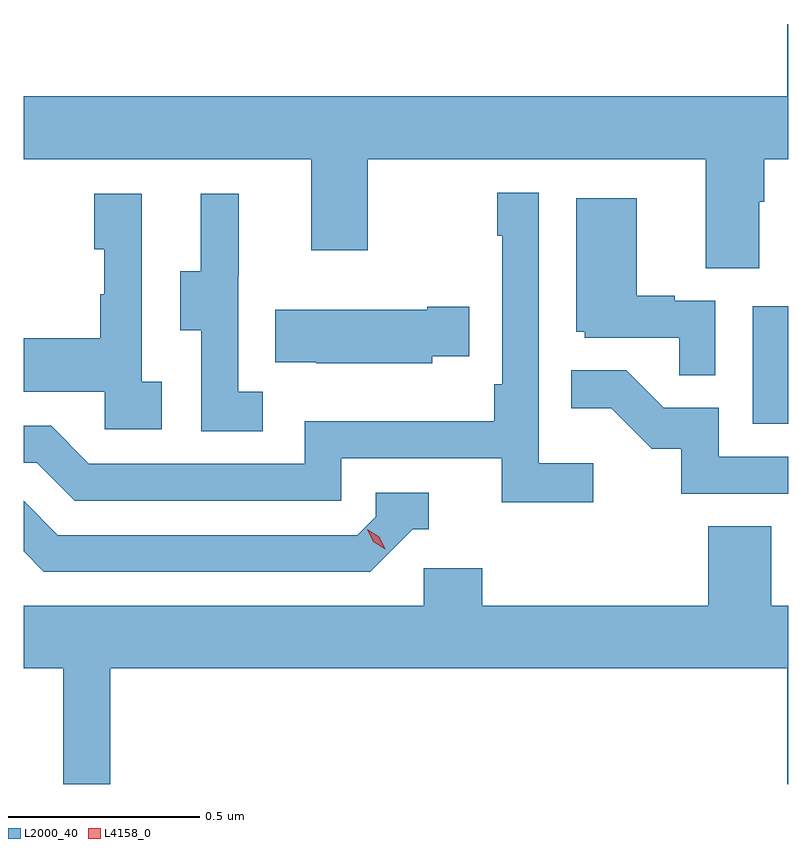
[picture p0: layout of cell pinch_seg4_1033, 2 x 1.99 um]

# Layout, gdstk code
import gdstk
lib = gdstk.Library(unit=1e-6, precision=1e-09)
def R(c, l, rs):  # rectangles x0, y0, x1, y1
    for r in rs: c.add(gdstk.rectangle(r[:2], r[2:], *l))
def P(c, l, *ps):  # polygons
    for p in ps: c.add(gdstk.Polygon(p, *l))
L2000_40 = (2000, 40)
L4158_0 = (4158, 0)

pinch_seg4_1033 = lib.new_cell('pinch_seg4_1033')
R(pinch_seg4_1033, L2000_40, [(824.258,770.82,824.351,771.127)])
P(pinch_seg4_1033, L2000_40, [(824.275,771.4),(824.288,771.4),(824.288,771.512),(824.351,771.512),(824.351,771.865),(824.348,771.865),(824.348,771.676),(822.351,771.676),(822.351,771.512),(823.103,771.512),(823.103,771.273),(823.251,771.273),(823.251,771.512),(824.135,771.512),(824.135,771.226),(824.275,771.226)],
  [(823.84,770.716),(823.698,770.716),(823.698,771.424),(823.59,771.424),(823.59,771.311),(823.602,771.311),(823.602,770.923),(823.582,770.923),(823.582,770.827),(823.086,770.827),(823.086,770.715),(822.522,770.715),(822.423,770.814),(822.351,770.814),(822.351,770.718),(822.386,770.718),(822.485,770.619),(823.182,770.619),(823.182,770.73),(823.601,770.73),(823.601,770.614),(823.84,770.614)],
  [(822.712,770.93),(822.66,770.93),(822.66,771.421),(822.536,771.421),(822.536,771.276),(822.562,771.276),(822.562,771.158),(822.552,771.158),(822.552,771.043),(822.351,771.043),(822.351,770.903),(822.564,770.903),(822.564,770.805),(822.712,770.805)],
  [(822.976,770.903),(822.912,770.903),(822.912,771.207),(822.914,771.207),(822.914,771.421),(822.815,771.421),(822.815,771.219),(822.761,771.219),(822.761,771.064),(822.816,771.064),(822.816,770.8),(822.976,770.8)],
  [(824.16,771.141),(824.054,771.141),(824.054,771.154),(823.954,771.154),(823.954,771.409),(823.796,771.409),(823.796,771.06),(823.818,771.06),(823.818,771.045),(824.065,771.045),(824.065,770.947),(824.16,770.947)],
  [(823.419,770.996),(823.517,770.996),(823.517,771.126),(823.406,771.126),(823.406,771.118),(823.009,771.118),(823.009,770.981),(823.117,770.981),(823.117,770.978),(823.419,770.978)],
  [(824.351,770.733),(824.169,770.733),(824.169,770.862),(824.025,770.862),(823.927,770.96),(823.783,770.96),(823.783,770.861),(823.887,770.861),(823.994,770.754),(824.071,770.754),(824.071,770.637),(824.351,770.637)],
  [(823.368,770.544),(823.411,770.544),(823.411,770.64),(823.272,770.64),(823.272,770.577),(823.224,770.529),(822.441,770.529),(822.351,770.619),(822.351,770.486),(822.404,770.433),(823.257,770.433)],
  [(822.578,770.18),(824.348,770.18),(824.348,769.878),(824.351,769.878),(824.351,770.344),(824.306,770.344),(824.306,770.552),(824.141,770.552),(824.141,770.344),(823.55,770.344),(823.55,770.442),(823.398,770.442),(823.398,770.344),(822.351,770.344),(822.351,770.18),(822.455,770.18),(822.455,769.878),(822.578,769.878)])
P(pinch_seg4_1033, L4158_0, [(823.297,770.492),(823.266,770.512),(823.25,770.544),(823.25,770.544),(823.25,770.544),(823.281,770.525),(823.297,770.493),(823.297,770.492)])

lib.write_gds('pinch_seg4_1033.gds')
